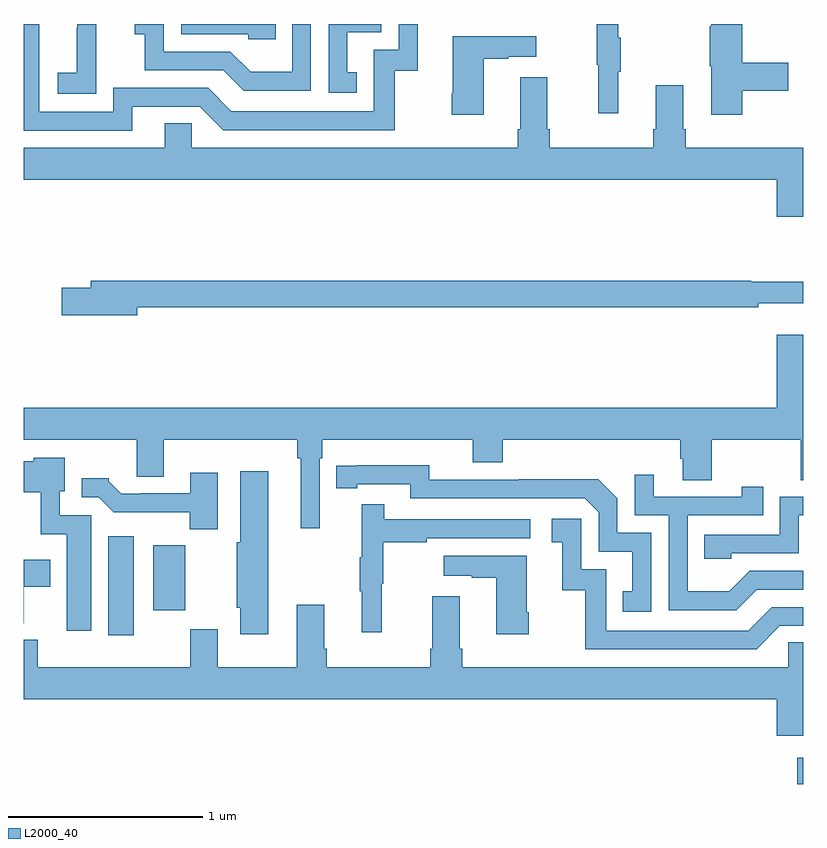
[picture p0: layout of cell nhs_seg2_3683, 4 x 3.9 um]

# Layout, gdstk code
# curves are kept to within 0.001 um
import gdstk
lib = gdstk.Library(unit=1e-6, precision=1e-09)
def R(c, l, rs):  # rectangles x0, y0, x1, y1
    for r in rs: c.add(gdstk.rectangle(r[:2], r[2:], *l))
def P(c, l, *ps):  # polygons
    for p in ps: c.add(gdstk.Polygon(p, *l))
L2000_40 = (2000, 40)

nhs_seg2_3683 = lib.new_cell('nhs_seg2_3683')
R(nhs_seg2_3683, L2000_40, [(308.97,613.901,309,614.035), (305.435,614.664,305.566,615.172)])
P(nhs_seg2_3683, L2000_40, [(308.687,617.458),(308.923,617.458),(308.923,617.6),(308.687,617.6),(308.687,617.8),(308.528,617.8),(308.528,617.789),(308.521,617.789),(308.521,617.583),(308.528,617.583),(308.528,617.334),(308.687,617.334)],
  [(306.293,617.8),(305.808,617.8),(305.808,617.748),(306.153,617.748),(306.153,617.721),(306.293,617.721)],
  [(305.373,617.647),(305.372,617.647),(305.372,617.8),(305.274,617.8),(305.274,617.78),(305.273,617.78),(305.273,617.551),(305.175,617.551),(305.175,617.441),(305.373,617.441)],
  [(306.474,617.8),(306.378,617.8),(306.378,617.554),(306.164,617.554),(306.06,617.658),(305.718,617.658),(305.718,617.8),(305.571,617.8),(305.571,617.747),(305.62,617.747),(305.62,617.562),(306.023,617.562),(306.128,617.457),(306.474,617.457)],
  [(305.557,617.376),(305.904,617.376),(306.024,617.256),(306.904,617.256),(306.904,617.559),(307.022,617.559),(307.022,617.8),(306.924,617.8),(306.924,617.667),(306.795,617.667),(306.795,617.352),(306.066,617.352),(305.946,617.472),(305.46,617.472),(305.46,617.349),(305.079,617.349),(305.079,617.8),(305,617.8),(305,617.253),(305.557,617.253)],
  [(306.71,617.553),(306.661,617.553),(306.661,617.757),(306.834,617.757),(306.834,617.8),(306.564,617.8),(306.564,617.448),(306.71,617.448)],
  [(308.051,617.555),(308.062,617.555),(308.062,617.729),(308.051,617.729),(308.051,617.8),(307.941,617.8),(307.941,617.592),(307.948,617.592),(307.948,617.343),(308.051,617.343)],
  [(307.36,617.623),(307.487,617.623),(307.487,617.633),(307.63,617.633),(307.63,617.737),(307.202,617.737),(307.202,617.446),(307.195,617.446),(307.195,617.334),(307.36,617.334)],
  [(309,617.164),(308.396,617.164),(308.396,617.26),(308.383,617.26),(308.383,617.485),(308.243,617.485),(308.243,617.26),(308.231,617.26),(308.231,617.164),(307.7,617.164),(307.7,617.26),(307.687,617.26),(307.687,617.527),(307.547,617.527),(307.547,617.26),(307.535,617.26),(307.535,617.164),(305.862,617.164),(305.862,617.291),(305.723,617.291),(305.723,617.164),(305,617.164),(305,617),(308.864,617),(308.864,616.812),(309,616.812)],
  [(305.584,616.348),(308.768,616.348),(308.768,616.367),(309,616.367),(309,616.477),(308.734,616.477),(308.734,616.484),(305.345,616.484),(305.345,616.448),(305.196,616.448),(305.196,616.306),(305.584,616.306)],
  [(306.519,615.572),(306.533,615.572),(306.533,615.668),(307.304,615.668),(307.304,615.551),(307.457,615.551),(307.457,615.668),(308.369,615.668),(308.369,615.57),(308.381,615.57),(308.381,615.46),(308.529,615.46),(308.529,615.668),(308.986,615.668),(308.986,615.46),(309,615.46),(309,616.207),(308.864,616.207),(308.864,615.832),(305,615.832),(305,615.668),(305.579,615.668),(305.579,615.478),(305.719,615.478),(305.719,615.668),(306.403,615.668),(306.403,615.572),(306.422,615.572),(306.422,615.213),(306.519,615.213)],
  [(305.347,615.279),(305.184,615.279),(305.184,615.402),(305.212,615.402),(305.212,615.574),(305.052,615.574),(305.052,615.556),(305,615.556),(305,615.398),(305.088,615.398),(305.088,615.182),(305.222,615.182),(305.222,614.688),(305.347,614.688)],
  [(308.22,615.189),(308.046,615.189),(308.046,615.366),(307.948,615.464),(307.54,615.464),(307.54,615.462),(307.08,615.462),(307.08,615.535),(306.604,615.534),(306.604,615.418),(306.712,615.418),(306.712,615.438),(306.984,615.438),(306.984,615.366),(307.878,615.366),(307.95,615.294),(307.95,615.093),(308.123,615.093),(308.123,614.889),(308.074,614.889),(308.074,614.784),(308.22,614.784)],
  [(306.256,615.505),(306.11,615.505),(306.11,615.141),(306.092,615.141),(306.092,614.805),(306.11,614.805),(306.11,614.67),(306.256,614.67)],
  [(305.995,615.499),(305.855,615.499),(305.855,615.393),(305.599,615.393),(305.599,615.39),(305.5,615.39),(305.436,615.454),(305.436,615.469),(305.297,615.469),(305.297,615.372),(305.385,615.372),(305.461,615.296),(305.853,615.296),(305.853,615.209),(305.995,615.209)],
  [(308.761,614.898),(309,614.898),(309,614.994),(308.724,614.994),(308.62,614.89),(308.406,614.89),(308.406,615.279),(308.795,615.279),(308.795,615.427),(308.684,615.427),(308.684,615.375),(308.233,615.375),(308.233,615.487),(308.136,615.487),(308.136,615.279),(308.31,615.279),(308.31,614.793),(308.656,614.793)],
  [(308.631,615.084),(308.976,615.084),(308.976,615.279),(309,615.279),(309,615.375),(308.88,615.375),(308.88,615.18),(308.491,615.18),(308.491,615.057),(308.631,615.057)],
  [(306.836,614.928),(306.844,614.928),(306.844,615.142),(307.067,615.142),(307.067,615.162),(307.6,615.162),(307.6,615.258),(306.851,615.258),(306.851,615.337),(306.734,615.337),(306.734,615.065),(306.723,615.065),(306.723,614.891),(306.734,614.891),(306.734,614.679),(306.836,614.679)],
  [(308.88,614.712),(309,614.712),(309,614.808),(308.838,614.808),(308.718,614.688),(307.989,614.688),(307.989,615.003),(307.86,615.003),(307.86,615.262),(307.71,615.262),(307.71,615.141),(307.763,615.141),(307.763,614.895),(307.881,614.895),(307.881,614.592),(308.76,614.592)],
  [(305.83,615.02),(305.828,615.02),(305.828,615.127),(305.666,615.127),(305.666,614.793),(305.83,614.793)],
  [(307.59,614.782),(307.582,614.782),(307.582,615.073),(307.155,615.073),(307.155,614.969),(307.298,614.969),(307.298,614.959),(307.424,614.959),(307.424,614.67),(307.59,614.67)],
  [(305.001,614.912),(305.137,614.912),(305.137,615.052),(305,615.052),(305,614.726),(305.001,614.726)],
  [(307.25,614.596),(307.237,614.596),(307.237,614.863),(307.097,614.863),(307.097,614.596),(307.085,614.596),(307.085,614.5),(306.554,614.5),(306.554,614.596),(306.541,614.596),(306.541,614.821),(306.401,614.821),(306.401,614.5),(305.995,614.5),(305.995,614.695),(305.855,614.695),(305.855,614.5),(305.072,614.5),(305.072,614.641),(305,614.641),(305,614.336),(308.864,614.336),(308.864,614.148),(309,614.148),(309,614.627),(308.922,614.627),(308.922,614.5),(307.25,614.5)])

lib.write_gds('nhs_seg2_3683.gds')
